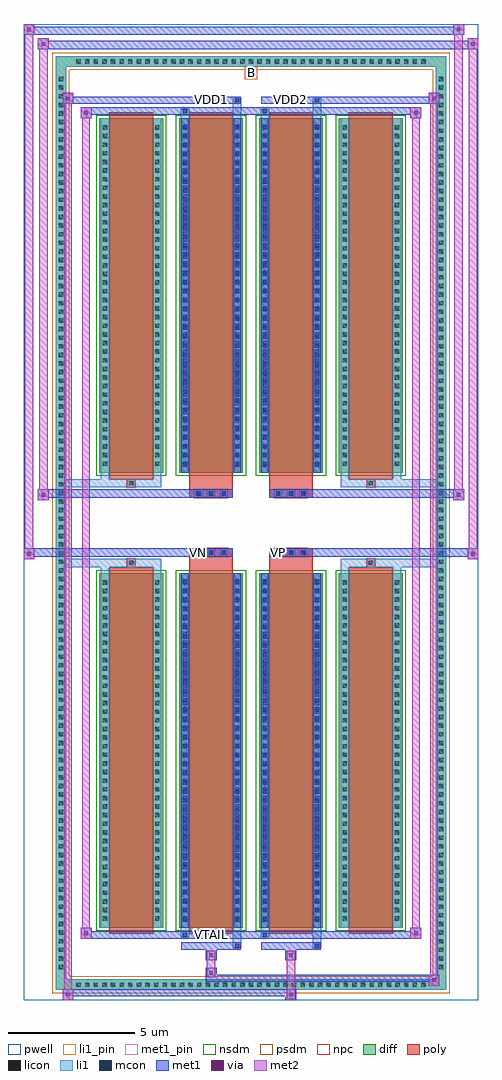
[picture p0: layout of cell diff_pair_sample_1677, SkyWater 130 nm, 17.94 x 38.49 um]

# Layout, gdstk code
import gdstk
lib = gdstk.Library(unit=1e-6, precision=5e-09)
def R(c, l, rs):  # rectangles x0, y0, x1, y1
    for r in rs: c.add(gdstk.rectangle(r[:2], r[2:], *l))
def A(c, l, x, y, w, h, nx, ny, dx, dy):  # array of equal rectangles
    R(c, l, [(x+i*dx, y+j*dy, x+i*dx+w, y+j*dy+h) for i in range(nx) for j in range(ny)])
def P(c, l, *ps):  # polygons
    for p in ps: c.add(gdstk.Polygon(p, *l))
pwell = (64, 44)
diff = (65, 20)
poly = (66, 20)
licon = (66, 44)
li1_pin = (67, 16)
li1 = (67, 20)
mcon = (67, 44)
met1_pin = (68, 16)
met1 = (68, 20)
via = (68, 44)
met2 = (69, 20)
nsdm = (93, 44)
psdm = (94, 20)
npc = (95, 20)

diff_pair_sample_1677 = lib.new_cell('diff_pair_sample_1677')
R(diff_pair_sample_1677, pwell, [(-8.97,-18.81,8.97,19.68), (-6.29,-17,-0.01,-0.8), (0.01,-17,6.29,-0.8), (-6.29,0.8,-0.01,17), (0.01,0.8,6.29,17)])
A(diff_pair_sample_1677, diff, -7.005, -18.41, 0.41, 0.41, 41, 2, 0.34, 36.41)
A(diff_pair_sample_1677, diff, -7.7, -17.715, 0.41, 0.41, 1, 104, 0, 0.34)
A(diff_pair_sample_1677, diff, 7.29, -17.715, 0.41, 0.41, 1, 104, 0, 0.34)
A(diff_pair_sample_1677, diff, -5.98, -15.955, 2.51, 13.97, 4, 2, 3.15, 17.94)
R(diff_pair_sample_1677, diff, [(-7.005,-18.41,7.005,-18), (-7.7,-17.715,-7.29,17.715), (7.29,-17.715,7.7,17.715), (-7.005,18,7.005,18.41)])
P(diff_pair_sample_1677, diff, [(7.7,18.41),(-7.7,18.41),(-7.7,-18),(-7.29,-18),(-7.29,18),(7.29,18),(7.29,-18),(-7.29,-18),(-7.7,-18),(-7.7,-18.41),(7.7,-18.41)])
A(diff_pair_sample_1677, poly, -5.59, -16.205, 1.73, 14.47, 4, 2, 3.15, 17.94)
A(diff_pair_sample_1677, poly, -2.24, -1.33, 0.33, 0.33, 3, 2, 0.5, 2.33)
A(diff_pair_sample_1677, poly, 0.91, -1.33, 0.33, 0.33, 3, 2, 0.5, 2.33)
R(diff_pair_sample_1677, poly, [(-4.89,-1.735,-4.56,-1.405), (-4.89,-1.735,-4.56,-1.405), (-2.44,-1.735,-0.71,-1.33), (0.71,-1.735,2.44,-1.33), (4.56,-1.735,4.89,-1.405), (4.56,-1.735,4.89,-1.405), (-2.44,-1.33,-0.71,-1), (0.71,-1.33,2.44,-1), (-2.44,1,-0.71,1.33), (0.71,1,2.44,1.33), (-2.44,1.33,-0.71,1.735), (0.71,1.33,2.44,1.735), (-4.89,1.405,-4.56,1.735), (-4.89,1.405,-4.56,1.735), (4.56,1.405,4.89,1.735), (4.56,1.405,4.89,1.735)])
A(diff_pair_sample_1677, licon, -6.885, -18.29, 0.17, 0.17, 41, 2, 0.34, 36.41)
A(diff_pair_sample_1677, licon, -7.58, -17.595, 0.17, 0.17, 1, 104, 0, 0.34)
A(diff_pair_sample_1677, licon, 7.41, -17.595, 0.17, 0.17, 1, 104, 0, 0.34)
A(diff_pair_sample_1677, licon, -5.84, -15.685, 0.17, 0.17, 1, 40, 0, 0.34)
A(diff_pair_sample_1677, licon, -3.78, -15.685, 0.17, 0.17, 1, 40, 0, 0.34)
A(diff_pair_sample_1677, licon, -2.69, -15.685, 0.17, 0.17, 1, 40, 0, 0.34)
A(diff_pair_sample_1677, licon, -0.63, -15.685, 0.17, 0.17, 1, 40, 0, 0.34)
A(diff_pair_sample_1677, licon, 0.46, -15.685, 0.17, 0.17, 1, 40, 0, 0.34)
A(diff_pair_sample_1677, licon, 2.52, -15.685, 0.17, 0.17, 1, 40, 0, 0.34)
A(diff_pair_sample_1677, licon, 3.61, -15.685, 0.17, 0.17, 1, 40, 0, 0.34)
A(diff_pair_sample_1677, licon, 5.67, -15.685, 0.17, 0.17, 1, 40, 0, 0.34)
A(diff_pair_sample_1677, licon, -2.16, -1.25, 0.17, 0.17, 3, 2, 0.5, 2.33)
A(diff_pair_sample_1677, licon, 0.99, -1.25, 0.17, 0.17, 3, 2, 0.5, 2.33)
A(diff_pair_sample_1677, licon, -5.84, 2.255, 0.17, 0.17, 1, 40, 0, 0.34)
A(diff_pair_sample_1677, licon, -3.78, 2.255, 0.17, 0.17, 1, 40, 0, 0.34)
A(diff_pair_sample_1677, licon, -2.69, 2.255, 0.17, 0.17, 1, 40, 0, 0.34)
A(diff_pair_sample_1677, licon, -0.63, 2.255, 0.17, 0.17, 1, 40, 0, 0.34)
A(diff_pair_sample_1677, licon, 0.46, 2.255, 0.17, 0.17, 1, 40, 0, 0.34)
A(diff_pair_sample_1677, licon, 2.52, 2.255, 0.17, 0.17, 1, 40, 0, 0.34)
A(diff_pair_sample_1677, licon, 3.61, 2.255, 0.17, 0.17, 1, 40, 0, 0.34)
A(diff_pair_sample_1677, licon, 5.67, 2.255, 0.17, 0.17, 1, 40, 0, 0.34)
R(diff_pair_sample_1677, licon, [(-4.81,-1.655,-4.64,-1.485), (4.64,-1.655,4.81,-1.485), (-4.81,1.485,-4.64,1.655), (4.64,1.485,4.81,1.655)])
R(diff_pair_sample_1677, li1_pin, [(-0.25,17.5,0.25,18)])
A(diff_pair_sample_1677, li1, -6.965, -18.37, 0.33, 0.33, 41, 2, 0.34, 36.41)
A(diff_pair_sample_1677, li1, -7.66, -17.675, 0.33, 0.33, 1, 104, 0, 0.34)
A(diff_pair_sample_1677, li1, 7.33, -17.675, 0.33, 0.33, 1, 104, 0, 0.34)
A(diff_pair_sample_1677, li1, -5.92, -15.765, 0.33, 0.33, 1, 40, 0, 0.34)
A(diff_pair_sample_1677, li1, -3.86, -15.765, 0.33, 0.33, 1, 40, 0, 0.34)
A(diff_pair_sample_1677, li1, -2.77, -15.765, 0.33, 0.33, 1, 40, 0, 0.34)
A(diff_pair_sample_1677, li1, -0.71, -15.765, 0.33, 0.33, 1, 40, 0, 0.34)
A(diff_pair_sample_1677, li1, 0.38, -15.765, 0.33, 0.33, 1, 40, 0, 0.34)
A(diff_pair_sample_1677, li1, 2.44, -15.765, 0.33, 0.33, 1, 40, 0, 0.34)
A(diff_pair_sample_1677, li1, 3.53, -15.765, 0.33, 0.33, 1, 40, 0, 0.34)
A(diff_pair_sample_1677, li1, 5.59, -15.765, 0.33, 0.33, 1, 40, 0, 0.34)
A(diff_pair_sample_1677, li1, -2.69, -15.715, 0.17, 0.17, 1, 38, 0, 0.36)
A(diff_pair_sample_1677, li1, -0.63, -15.715, 0.17, 0.17, 1, 38, 0, 0.36)
A(diff_pair_sample_1677, li1, 0.46, -15.715, 0.17, 0.17, 1, 38, 0, 0.36)
A(diff_pair_sample_1677, li1, 2.52, -15.715, 0.17, 0.17, 1, 38, 0, 0.36)
A(diff_pair_sample_1677, li1, -2.24, -1.33, 0.33, 0.33, 3, 2, 0.5, 2.33)
A(diff_pair_sample_1677, li1, 0.91, -1.33, 0.33, 0.33, 3, 2, 0.5, 2.33)
A(diff_pair_sample_1677, li1, -5.92, 2.175, 0.33, 0.33, 1, 40, 0, 0.34)
A(diff_pair_sample_1677, li1, -3.86, 2.175, 0.33, 0.33, 1, 40, 0, 0.34)
A(diff_pair_sample_1677, li1, -2.77, 2.175, 0.33, 0.33, 1, 40, 0, 0.34)
A(diff_pair_sample_1677, li1, -0.71, 2.175, 0.33, 0.33, 1, 40, 0, 0.34)
A(diff_pair_sample_1677, li1, 0.38, 2.175, 0.33, 0.33, 1, 40, 0, 0.34)
A(diff_pair_sample_1677, li1, 2.44, 2.175, 0.33, 0.33, 1, 40, 0, 0.34)
A(diff_pair_sample_1677, li1, 3.53, 2.175, 0.33, 0.33, 1, 40, 0, 0.34)
A(diff_pair_sample_1677, li1, 5.59, 2.175, 0.33, 0.33, 1, 40, 0, 0.34)
A(diff_pair_sample_1677, li1, -2.69, 2.225, 0.17, 0.17, 1, 38, 0, 0.36)
A(diff_pair_sample_1677, li1, -0.63, 2.225, 0.17, 0.17, 1, 38, 0, 0.36)
A(diff_pair_sample_1677, li1, 0.46, 2.225, 0.17, 0.17, 1, 38, 0, 0.36)
A(diff_pair_sample_1677, li1, 2.52, 2.225, 0.17, 0.17, 1, 38, 0, 0.36)
R(diff_pair_sample_1677, li1, [(-7.7,-18.41,-7.29,-18), (-7.7,-18.41,-7.29,-18), (-7.29,-18.41,7.29,-18), (7.29,-18.41,7.7,-18), (7.29,-18.41,7.7,-18), (-7.7,-18,-7.29,18), (7.29,-18,7.7,18), (-0.71,-16.76,-0.38,-15.955), (-0.63,-16.76,-0.46,-16.59), (2.44,-16.76,2.77,-15.955), (2.52,-16.76,2.69,-16.59), (-2.77,-16.33,-2.44,-15.955), (-2.69,-16.33,-2.52,-16.16), (0.38,-16.33,0.71,-15.955), (0.46,-16.33,0.63,-16.16), (-5.92,-15.955,-5.59,-1.985), (-3.86,-15.955,-3.53,-1.985), (-2.77,-15.955,-2.44,-1.985), (-0.71,-15.955,-0.38,-1.985), (0.38,-15.955,0.71,-1.985), (2.44,-15.955,2.77,-1.985), (3.53,-15.955,3.86,-1.985), (5.59,-15.955,5.92,-1.985), (-2.69,-15.715,-2.52,-2.225), (-0.63,-15.715,-0.46,-2.225), (0.46,-15.715,0.63,-2.225), (2.52,-15.715,2.69,-2.225), (-5.92,-1.985,-5.59,-1.405), (-3.86,-1.985,-3.53,-1.405), (3.53,-1.985,3.86,-1.405), (5.59,-1.985,5.92,-1.405), (-7.7,-1.735,-4.89,-1.405), (-5.92,-1.735,-4.89,-1.405), (-4.89,-1.735,-4.56,-1.405), (-4.56,-1.735,-3.53,-1.405), (3.53,-1.735,4.56,-1.405), (4.56,-1.735,4.89,-1.405), (4.56,-1.735,7.7,-1.405), (4.89,-1.735,5.92,-1.405), (-7.7,1.405,-4.89,1.735), (-5.92,1.405,-4.89,1.735), (-5.92,1.405,-5.59,1.985), (-4.89,1.405,-4.56,1.735), (-4.56,1.405,-3.53,1.735), (-3.86,1.405,-3.53,1.985), (3.53,1.405,4.56,1.735), (3.53,1.405,3.86,1.985), (4.56,1.405,4.89,1.735), (4.56,1.405,7.7,1.735), (4.89,1.405,5.92,1.735), (5.59,1.405,5.92,1.985), (-5.92,1.985,-5.59,15.955), (-3.86,1.985,-3.53,15.955), (-2.77,1.985,-2.44,15.955), (-0.71,1.985,-0.38,15.955), (0.38,1.985,0.71,15.955), (2.44,1.985,2.77,15.955), (3.53,1.985,3.86,15.955), (5.59,1.985,5.92,15.955), (-2.69,2.225,-2.52,15.715), (-0.63,2.225,-0.46,15.715), (0.46,2.225,0.63,15.715), (2.52,2.225,2.69,15.715), (-2.77,15.955,-2.44,16.33), (-0.71,15.955,-0.38,16.76), (0.38,15.955,0.71,16.33), (2.44,15.955,2.77,16.76), (-2.69,16.16,-2.52,16.33), (0.46,16.16,0.63,16.33), (-0.63,16.59,-0.46,16.76), (2.52,16.59,2.69,16.76), (-7.7,18,-7.29,18.41), (-7.7,18,-7.29,18.41), (-7.29,18,7.29,18.41), (7.29,18,7.7,18.41), (7.29,18,7.7,18.41)])
A(diff_pair_sample_1677, mcon, -2.69, -15.715, 0.17, 0.17, 1, 38, 0, 0.36)
A(diff_pair_sample_1677, mcon, -0.63, -15.715, 0.17, 0.17, 1, 38, 0, 0.36)
A(diff_pair_sample_1677, mcon, 0.46, -15.715, 0.17, 0.17, 1, 38, 0, 0.36)
A(diff_pair_sample_1677, mcon, 2.52, -15.715, 0.17, 0.17, 1, 38, 0, 0.36)
A(diff_pair_sample_1677, mcon, -2.16, -1.25, 0.17, 0.17, 3, 2, 0.5, 2.33)
A(diff_pair_sample_1677, mcon, 0.99, -1.25, 0.17, 0.17, 3, 2, 0.5, 2.33)
A(diff_pair_sample_1677, mcon, -2.69, 2.225, 0.17, 0.17, 1, 38, 0, 0.36)
A(diff_pair_sample_1677, mcon, -0.63, 2.225, 0.17, 0.17, 1, 38, 0, 0.36)
A(diff_pair_sample_1677, mcon, 0.46, 2.225, 0.17, 0.17, 1, 38, 0, 0.36)
A(diff_pair_sample_1677, mcon, 2.52, 2.225, 0.17, 0.17, 1, 38, 0, 0.36)
R(diff_pair_sample_1677, mcon, [(-0.63,-16.76,-0.46,-16.59), (2.52,-16.76,2.69,-16.59), (-2.69,-16.33,-2.52,-16.16), (0.46,-16.33,0.63,-16.16), (-2.69,16.16,-2.52,16.33), (0.46,16.16,0.63,16.33), (-0.63,16.59,-0.46,16.76), (2.52,16.59,2.69,16.76)])
R(diff_pair_sample_1677, met1_pin, [(-1.71,-16.37,-1.44,-16.1), (-2.21,-1.29,-1.94,-1.02), (0.94,-1.29,1.21,-1.02), (-1.71,16.55,-1.44,16.82), (1.44,16.55,1.71,16.82)])
A(diff_pair_sample_1677, met1, -2.75, -15.775, 0.29, 0.29, 1, 38, 0, 0.36)
A(diff_pair_sample_1677, met1, -0.69, -15.775, 0.29, 0.29, 1, 38, 0, 0.36)
A(diff_pair_sample_1677, met1, 0.4, -15.775, 0.29, 0.29, 1, 38, 0, 0.36)
A(diff_pair_sample_1677, met1, 2.46, -15.775, 0.29, 0.29, 1, 38, 0, 0.36)
A(diff_pair_sample_1677, met1, -2.22, -1.31, 0.29, 0.29, 3, 2, 0.5, 2.33)
A(diff_pair_sample_1677, met1, 0.93, -1.31, 0.29, 0.29, 3, 2, 0.5, 2.33)
A(diff_pair_sample_1677, met1, -2.75, 2.165, 0.29, 0.29, 1, 38, 0, 0.36)
A(diff_pair_sample_1677, met1, -0.69, 2.165, 0.29, 0.29, 1, 38, 0, 0.36)
A(diff_pair_sample_1677, met1, 0.4, 2.165, 0.29, 0.29, 1, 38, 0, 0.36)
A(diff_pair_sample_1677, met1, 2.46, 2.165, 0.29, 0.29, 1, 38, 0, 0.36)
R(diff_pair_sample_1677, met1, [(-7.43,-18.81,-7,-18.38), (1.36,-18.81,1.79,-18.38), (-7.43,-18.67,1.79,-18.38), (7,-18.24,7.43,-17.81), (-1.79,-18.1,7.43,-17.81), (-1.79,-17.96,-1.36,-17.53), (-1.79,-17.25,-1.36,-16.82), (1.36,-17.25,1.79,-16.82), (-2.75,-16.82,-0.4,-16.53), (-0.69,-16.82,-0.4,-16.53), (0.4,-16.82,2.75,-16.53), (2.46,-16.82,2.75,-16.53), (-6.72,-16.39,-6.29,-15.96), (-6.72,-16.39,-2.75,-16.1), (-2.75,-16.39,-2.46,-16.1), (-2.75,-16.39,-0.4,-16.1), (-0.4,-16.39,0.4,-16.1), (0.4,-16.39,0.69,-16.1), (0.4,-16.39,2.75,-16.1), (2.75,-16.39,6.72,-16.1), (6.29,-16.39,6.72,-15.96), (-2.75,-15.955,-2.46,-1.985), (-0.69,-15.955,-0.4,-1.985), (0.4,-15.955,0.69,-1.985), (2.46,-15.955,2.75,-1.985), (-8.97,-1.43,-8.54,-1), (8.54,-1.43,8.97,-1), (-8.97,-1.33,-0.71,-1), (-2.44,-1.33,-0.71,-1), (0.71,-1.33,2.44,-1), (0.71,-1.33,8.97,-1), (-8.4,0.9,-7.97,1.33), (7.97,0.9,8.4,1.33), (-8.4,1,-2.44,1.33), (-2.44,1,-0.71,1.33), (0.71,1,2.44,1.33), (2.44,1,8.4,1.33), (-2.75,1.985,-2.46,15.955), (-0.69,1.985,-0.4,15.955), (0.4,1.985,0.69,15.955), (2.46,1.985,2.75,15.955), (-6.72,15.96,-6.29,16.39), (6.29,15.96,6.72,16.39), (-6.72,16.1,-2.75,16.39), (-2.75,16.1,-2.46,16.39), (-2.75,16.1,-0.4,16.39), (-0.4,16.1,0.4,16.39), (0.4,16.1,0.69,16.39), (0.4,16.1,2.75,16.39), (2.75,16.1,6.72,16.39), (-7.43,16.53,-7,16.96), (-7.43,16.53,-2.75,16.82), (-2.75,16.53,-0.4,16.82), (-0.69,16.53,-0.4,16.82), (0.4,16.53,2.75,16.82), (2.46,16.53,2.75,16.82), (2.75,16.53,7.43,16.82), (7,16.53,7.43,16.96), (-8.4,18.68,-7.97,19.11), (-8.4,18.68,-6.29,19.01), (-6.29,18.68,6.29,19.01), (6.29,18.68,8.97,19.01), (8.54,18.68,8.97,19.11), (-8.97,19.25,-8.54,19.68), (-8.97,19.25,-6.29,19.58), (-6.29,19.25,6.29,19.58), (6.29,19.25,8.4,19.58), (7.97,19.25,8.4,19.68)])
R(diff_pair_sample_1677, via, [(-7.29,-18.67,-7.14,-18.52), (1.5,-18.67,1.65,-18.52), (7.14,-18.1,7.29,-17.95), (-1.65,-17.82,-1.5,-17.67), (-1.65,-17.11,-1.5,-16.96), (1.5,-17.11,1.65,-16.96), (-6.58,-16.25,-6.43,-16.1), (6.43,-16.25,6.58,-16.1), (-8.83,-1.29,-8.68,-1.14), (8.68,-1.29,8.83,-1.14), (-8.26,1.04,-8.11,1.19), (8.11,1.04,8.26,1.19), (-6.58,16.1,-6.43,16.25), (6.43,16.1,6.58,16.25), (-7.29,16.67,-7.14,16.82), (7.14,16.67,7.29,16.82), (-8.26,18.82,-8.11,18.97), (8.68,18.82,8.83,18.97), (-8.83,19.39,-8.68,19.54), (8.11,19.39,8.26,19.54)])
R(diff_pair_sample_1677, met2, [(-7.43,-18.81,-7,-18.38), (-7.36,-18.81,-7.07,16.96), (-7.07,-18.81,-7,-18.38), (-7.38,-18.76,-7.05,-18.43), (1.41,-18.76,1.74,-18.43), (1.41,-18.43,1.74,-17.2), (7,-18.24,7.43,-17.81), (7.07,-18.24,7.36,16.96), (7.36,-18.24,7.43,-17.81), (7.05,-18.19,7.38,-17.86), (-1.74,-17.91,-1.41,-17.58), (-1.74,-17.58,-1.41,-17.2), (-1.74,-17.2,-1.41,-16.87), (1.41,-17.2,1.74,-16.87), (-6.72,-16.39,-6.29,-15.96), (-6.65,-16.39,-6.36,16.39), (-6.36,-16.39,-6.29,-15.96), (6.29,-16.39,6.72,-15.96), (6.36,-16.39,6.65,16.39), (6.65,-16.39,6.72,-15.96), (-6.67,-16.34,-6.34,-16.01), (6.34,-16.34,6.67,-16.01), (-8.97,-1.43,-8.54,-1), (-8.92,-1.43,-8.59,19.68), (-8.59,-1.43,-8.54,-1), (8.54,-1.43,8.97,-1), (8.59,-1.43,8.92,19.11), (8.92,-1.43,8.97,-1), (-8.92,-1.38,-8.59,-1.05), (8.59,-1.38,8.92,-1.05), (-8.4,0.9,-7.97,1.33), (-8.35,0.9,-8.02,19.11), (-8.02,0.9,-7.97,1.33), (7.97,0.9,8.4,1.33), (8.02,0.9,8.35,19.68), (8.35,0.9,8.4,1.33), (-8.35,0.95,-8.02,1.28), (8.02,0.95,8.35,1.28), (-6.72,15.96,-6.29,16.39), (-6.36,15.96,-6.29,16.39), (6.29,15.96,6.72,16.39), (6.65,15.96,6.72,16.39), (-6.67,16.01,-6.34,16.34), (6.34,16.01,6.67,16.34), (-7.43,16.53,-7,16.96), (-7.07,16.53,-7,16.96), (7,16.53,7.43,16.96), (7.36,16.53,7.43,16.96), (-7.38,16.58,-7.05,16.91), (7.05,16.58,7.38,16.91), (-8.4,18.68,-7.97,19.11), (-8.02,18.68,-7.97,19.11), (8.54,18.68,8.97,19.11), (8.92,18.68,8.97,19.11), (-8.35,18.73,-8.02,19.06), (8.59,18.73,8.92,19.06), (-8.97,19.25,-8.54,19.68), (-8.59,19.25,-8.54,19.68), (7.97,19.25,8.4,19.68), (8.35,19.25,8.4,19.68), (-8.92,19.3,-8.59,19.63), (8.02,19.3,8.35,19.63)])
A(diff_pair_sample_1677, nsdm, -6.11, -16.085, 2.77, 14.23, 4, 2, 3.15, 17.94)
P(diff_pair_sample_1677, psdm, [(7.83,18.54),(-7.83,18.54),(-7.83,-17.87),(-7.16,-17.87),(-7.16,17.87),(7.16,17.87),(7.16,-17.87),(-7.16,-17.87),(-7.83,-17.87),(-7.83,-18.54),(7.83,-18.54)])
A(diff_pair_sample_1677, npc, -2.26, -1.35, 0.37, 0.37, 3, 2, 0.5, 2.33)
A(diff_pair_sample_1677, npc, 0.89, -1.35, 0.37, 0.37, 3, 2, 0.5, 2.33)
R(diff_pair_sample_1677, npc, [(-4.91,-1.755,-4.54,-1.385), (4.54,-1.755,4.91,-1.385), (-2.26,-1.35,-1.39,-0.98), (-2.26,-1.35,-1.39,-0.98), (-1.76,-1.35,-0.89,-0.98), (-1.76,-1.35,-0.89,-0.98), (0.89,-1.35,1.76,-0.98), (0.89,-1.35,1.76,-0.98), (1.39,-1.35,2.26,-0.98), (1.39,-1.35,2.26,-0.98), (-2.26,0.98,-1.39,1.35), (-2.26,0.98,-1.39,1.35), (-1.76,0.98,-0.89,1.35), (-1.76,0.98,-0.89,1.35), (0.89,0.98,1.76,1.35), (0.89,0.98,1.76,1.35), (1.39,0.98,2.26,1.35), (1.39,0.98,2.26,1.35), (-4.91,1.385,-4.54,1.755), (4.54,1.385,4.91,1.755)])
diff_pair_sample_1677.add(gdstk.Label('VTAIL', (-1.575,-16.235), layer=68, texttype=5))
diff_pair_sample_1677.add(gdstk.Label('VN', (-2.075,-1.155), layer=68, texttype=5))
diff_pair_sample_1677.add(gdstk.Label('VP', (1.075,-1.155), layer=68, texttype=5))
diff_pair_sample_1677.add(gdstk.Label('B', (0,17.75), layer=67, texttype=5))
diff_pair_sample_1677.add(gdstk.Label('VDD2', (1.575,16.685), layer=68, texttype=5))
diff_pair_sample_1677.add(gdstk.Label('VDD1', (-1.575,16.685), layer=68, texttype=5))

lib.write_gds('diff_pair_sample_1677.gds')
